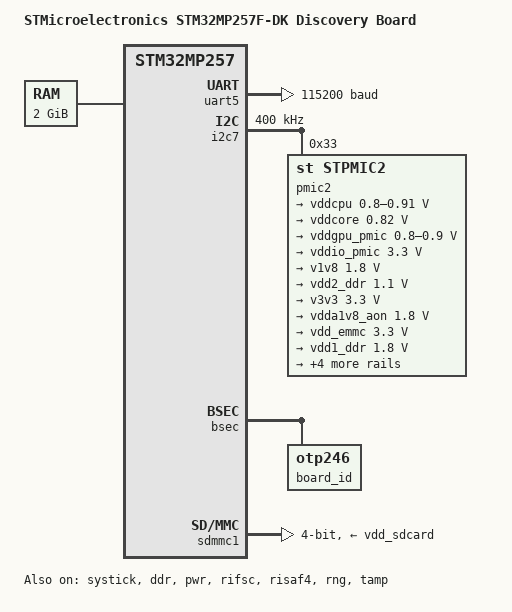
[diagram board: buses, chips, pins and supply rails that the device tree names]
// SPDX-License-Identifier: (GPL-2.0-only OR BSD-3-Clause)
/*
 * Copyright (C) STMicroelectronics 2023 - All Rights Reserved
 */

/dts-v1/;

#include <dt-bindings/clock/stm32mp25-clksrc.h>
#include <dt-bindings/reset/st,stm32mp25-rcc.h>
#include <dt-bindings/rif/stm32mp25-rif.h>
#include <dt-bindings/rif/stm32mp25-rifsc.h>
#include <dt-bindings/rif/stm32mp2-risaf.h>
#include <dt-bindings/rif/stm32mp25-risab.h>

#include "stm32mp257.dtsi"
#include "stm32mp25x-bl2.dtsi"
#include "stm32mp257f-dk-cm33tdcid-ostl-bl2-resmem.dtsi"
#include "stm32mp257f-dk-cm33tdcid-ostl-sdcard-bl2-rcc.dtsi"
#include "stm32mp257f-dk-cm33tdcid-ostl-sdcard-bl2-rif.dtsi"
#include "stm32mp25-lpddr4-1x32Gbits-1x32bits-1200MHz.dtsi"
#include "stm32mp25-pinctrl.dtsi"
#include "stm32mp25xxai-pinctrl.dtsi"

/ {
	model = "STMicroelectronics STM32MP257F-DK Discovery Board";
	compatible = "st,stm32mp257f-dk-cm33tdcid-ostl-sdcard", "st,stm32mp257f-dk", "st,stm32mp257";

	aliases {
		serial0 = &uart5;
	};

	chosen {
		stdout-device = &uart5;
		tfm,entropy = &rng;
	};

	memory@80000000 {
		device_type = "memory";
		reg = <0x80000000 0x80000000>; /* 2GB Size, 32-bit compatible */
	};

	otp {
		nvmem-cells = <&implementation_id>,
			      <&rpn_otp>,
			      <&bootrom_config_9>,
			      <&id_otp>,
			      <&package_otp>,
			      <&hconf1_otp>,
			      <&bl2_rotpk_0>,
			      <&bl2_rotpk_0>, /*keep the same key for slot1 */
			      <&board_id>,
			      <&entropy_seed>,
			      <&iak>;
		nvmem-cell-names = "implementation_id",
				   "rpn_otp",
				   "bootrom_config_9",
				   "id_otp",
				   "package_otp",
				   "hconf1_otp",
				   "bl2_rotpk_0",
				   "bl2_rotpk_1",
				   "board_id",
				   "entropy_seed",
				   "iak";
	};

};

&uart5 {
	pinctrl-names = "default";
	pinctrl-0 = <&uart5_pins_a>;
	clocks = <&rcc CK_KER_UART5>;
	current-speed = <115200>;
	status = "okay";
};

&systick {
	clocks = <&rcc CK_ICN_HS_MCU>;
	clock-frequency = <1000000>; /* tick at 1us */
	status = "okay";
};

&i2c7 {
	pinctrl-names = "default";
	pinctrl-0 = <&i2c7_pins_a>;
	i2c-scl-rising-time-ns = <185>;
	i2c-scl-falling-time-ns = <20>;
	clock-frequency = <400000>;
	status = "okay";

	#address-cells = <1>;
	#size-cells = <0>;

	pmic2: stpmic2@33 {
		compatible = "st,stpmic2";
		reg = <0x33>;
		status = "okay";

		regulators {
			compatible = "st,stpmic2-regulators";

			vddcpu: buck1 {
				regulator-name = "vddcpu";
				regulator-min-microvolt = <800000>;
				regulator-max-microvolt = <910000>;
				regulator-always-on;
			};
			vddcore: buck2 {
				regulator-name = "vddcore";
				regulator-min-microvolt = <820000>;
				regulator-max-microvolt = <820000>;
				regulator-always-on;
			};
			vddgpu_pmic: buck3 {
				regulator-name = "vddgpu_pmic";
				regulator-min-microvolt = <800000>;
				regulator-max-microvolt = <900000>;
				regulator-always-on;
			};
			vddio_pmic: buck4 {
				regulator-name = "vddio_pmic";
				regulator-min-microvolt = <3300000>;
				regulator-max-microvolt = <3300000>;
				regulator-always-on;
			};
			v1v8: buck5 {
				regulator-name = "v1v8";
				regulator-min-microvolt = <1800000>;
				regulator-max-microvolt = <1800000>;
				regulator-always-on;
			};
			vdd2_ddr: buck6 {
				regulator-name = "vdd2_ddr";
				regulator-min-microvolt = <1100000>;
				regulator-max-microvolt = <1100000>;
			};
			v3v3: buck7 {
				regulator-name = "v3v3";
				regulator-min-microvolt = <3300000>;
				regulator-max-microvolt = <3300000>;
				regulator-always-on;
			};
			vdda1v8_aon: ldo1 {
				regulator-name = "vdda1v8_aon";
				regulator-min-microvolt = <1800000>;
				regulator-max-microvolt = <1800000>;
				regulator-always-on;
			};
			vdd_emmc: ldo2 {
				regulator-name = "vdd_emmc";
				regulator-min-microvolt = <3300000>;
				regulator-max-microvolt = <3300000>;
				regulator-always-on;
			};
			vdd1_ddr: ldo3 {
				regulator-name = "vdd1_ddr";
				regulator-min-microvolt = <1800000>;
				regulator-max-microvolt = <1800000>;
			};
			vdd3v3_usb: ldo4 {
				regulator-name = "vdd3v3_usb";
				regulator-min-microvolt = <3300000>;
				regulator-max-microvolt = <3300000>;
				regulator-always-on;
			};
			v5v_hdmi: ldo5 {
				regulator-name = "v5v_hdmi";
				regulator-min-microvolt = <2000000>;
				regulator-max-microvolt = <2000000>;
			};
			vdd_sdcard: ldo7 {
				regulator-name = "vdd_sdcard";
				regulator-min-microvolt = <3300000>;
				regulator-max-microvolt = <3300000>;
				regulator-always-on;
			};
			vddio_sdcard: ldo8 {
				regulator-name = "vddio_sdcard";
				regulator-min-microvolt = <1800000>;
				regulator-max-microvolt = <3300000>;
				st,regulator-bypass-microvolt = <3300000>;
				regulator-always-on;
			};
		};
	};
};

&ddr {
	vdd1-supply = <&vdd1_ddr>;
	vdd2-supply = <&vdd2_ddr>;
	vddq-supply = <&vdd2_ddr>;
	st,mem-size = <0x80000000>; /* 2GB Size, 32-bit compatible */
	status = "okay";
};

&bsec {
	memory-region = <&bsec_mirror>;
	status = "okay";

	board_id: otp246@3d8 {
		#nvmem-cell-cells = <0>;
		reg = <0x3d8 0x4>;
	};
};

&pwr {
	status = "okay";

	vddgpu {
		vin-supply = <&vddgpu_pmic>;
	};

	vddio1: vddio1 {
		vin-supply = <&vddio_sdcard>;
	};
	vddio2: vddio2 {
		vin-supply = <&v1v8>;
	};
	vddio3: vddio3 {
		vin-supply = <&vddio_pmic>;
	};
	vddio4: vddio4 {
		vin-supply = <&vddio_pmic>;
	};
	vddio: vddio {
		vin-supply = <&vddio_pmic>;
	};
};

&hconf1_otp {
	shadow-provisionning = <0x00018000>;
};

&rifsc {
	status = "okay";
};

&risaf4 {
	status = "okay";
};

&rng {
	status = "okay";
};

&sdmmc1 {
	pinctrl-names = "default";
	pinctrl-0 = <&sdmmc1_b4_pins_a>;
	st,neg-edge;
	no-mmc;
	bus-width = <4>;
	vmmc-supply = <&vdd_sdcard>;
	vqmmc-supply = <&vddio_sdcard>;
	status = "okay";
};

&tamp {
	status = "okay";
};
